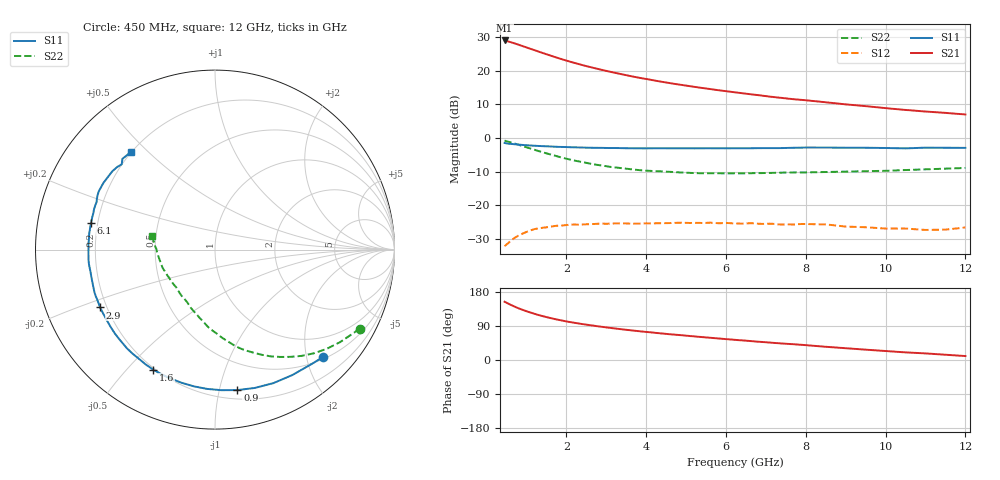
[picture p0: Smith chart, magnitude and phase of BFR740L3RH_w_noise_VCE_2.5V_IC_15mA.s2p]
! (c) 2012  Infineon Technologies AG, Munich
! Infineon Technologies  Discrete & RF Semiconductors
! BFR740L3RH
! VCE =  2.5 V,  IC =  15 mA
! Common Emitter S-Parameters:  May 2012
# GHz  S  MA  R  50
!  f  S11  S21  S12  S22
! GHz  MAG  ANG  MAG  ANG  MAG  ANG  MAG  ANG
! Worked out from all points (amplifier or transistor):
!   85 points, 450 MHz to 12 GHz, reference 50 ohm
!   highest |S21| = 29.0 dB at 450 MHz (marker M1)
!   |S21| within 3 dB of that: start of sweep to 1.226 GHz
!   unconditionally stable (mu >= 1): 7.188 GHz to end of sweep
!   at 1.8 GHz: K = 0.23, MSG = 24.9 dB, |S12| = -26.0 dB
!   at 4.6 GHz: K = 0.61, MSG = 20.8 dB, |S12| = -25.2 dB
!   at 12 GHz: K = 2.07, MAG = 10.9 dB, |S12| = -26.6 dB
!   lowest NFmin = 0.72 dB at 450 MHz
!   S11 on the Smith chart (normalised r, x): 450 MHz: 0.54, -2.31; 900 MHz: 0.27, -1.14; 1.6 GHz: 0.19, -0.59; 2.9 GHz: 0.17, -0.23; 6.1 GHz: 0.17, +0.10; 12 GHz: 0.20, +0.44
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0.45  0.848 -45.0  28.3 153.7  0.0248 60.6  0.9185 -28.6
0.6  0.8212 -58.3  26.7 145.7  0.0296 59.3  0.8661 -36.6
0.7  0.8119 -66.4  25.6 140.9  0.0329 54.5  0.832 -41.7
0.8  0.8019 -74.0  24.46 136.4  0.0357 51.2  0.7973 -46.5
0.9  0.7926 -80.9  23.35 132.4  0.0381 49.1  0.7632 -50.9
1.1  0.7773 -93.3  21.26 125.2  0.0426 42.6  0.6999 -58.7
1.3  0.765 -104.0  19.34 118.7  0.0456 37.7  0.6431 -65.8
1.5  0.7558 -113.2  17.65 113.2  0.0473 32.8  0.5941 -72.1
1.6  0.7523 -117.3  16.88 110.7  0.0482 31.6  0.5725 -75.1
1.8  0.7414 -125.1  15.43 106.0  0.0501 29.2  0.5303 -80.3
2  0.737 -131.7  14.21 101.8  0.0511 26.1  0.4948 -85.1
2.4  0.7247 -142.6  12.18 94.8  0.0521 22.2  0.441 -93.8
2.9  0.7166 -153.3  10.3 87.4  0.0536 19.5  0.3909 -102.5
3.5  0.7081 -163.8  8.62 79.7  0.054 15.8  0.3515 -112.5
4.3  0.707 -174.1  7.028 70.9  0.0544 13.7  0.322 -123.1
5.2  0.7048 175.9  5.794 62.3  0.0551 10.7  0.3028 -134.6
6.1  0.7062 167.7  4.902 54.3  0.0545 8.1  0.2996 -144.7
6.3  0.707 166.0  4.736 52.5  0.0539 9.1  0.2999 -146.8
7.2  0.7111 159.1  4.076 45.1  0.0532 7.2  0.3049 -156.6
8.5  0.7243 149.1  3.412 34.9  0.0522 5.2  0.3138 -169.4
10.5  0.7044 137.5  2.625 20.1  0.0453 9.1  0.3357 176.3
12  0.7168 130.7  2.248 10.4  0.047 21.3  0.3605 167.6
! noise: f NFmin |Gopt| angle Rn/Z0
0.45  0.72  0.11  6  0.11
0.9  0.73  0.11  24  0.11
1.5  0.75  0.13  46  0.1
1.9  0.76  0.15  59  0.1
2.4  0.78  0.16  69  0.1
3.5  0.84  0.18  90  0.1
5.5  0.99  0.22  120  0.09
8  1.21  0.28  155  0.08
10  1.39  0.32  -176  0.07
12  1.57  0.35  -150  0.09
